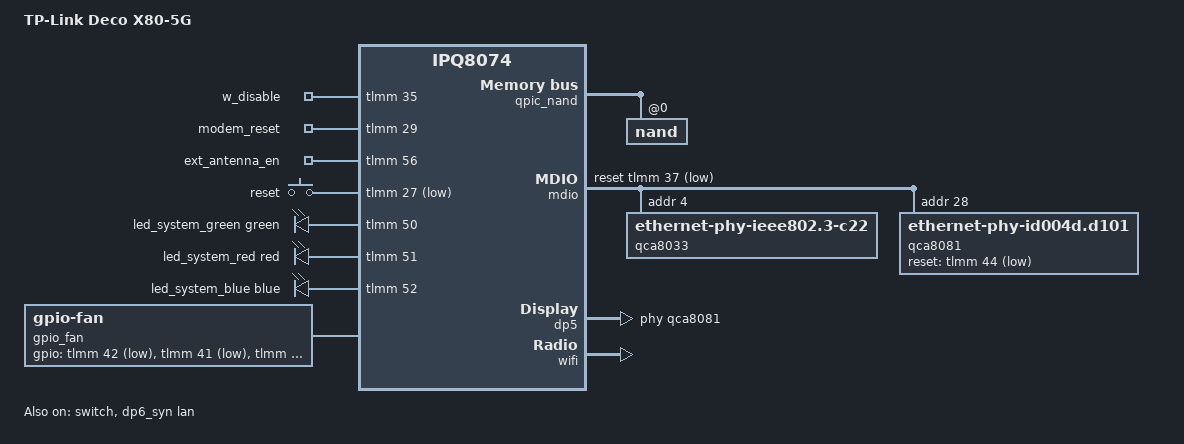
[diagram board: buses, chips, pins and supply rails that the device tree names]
// SPDX-License-Identifier: GPL-2.0-or-later OR MIT

/dts-v1/;

#include "ipq8074.dtsi"
#include "ipq8074-ess.dtsi"
#include "ipq8074-nss.dtsi"
#include "ipq8074-common.dtsi"
#include "ipq8074-hk-cpu.dtsi"

#include <dt-bindings/gpio/gpio.h>
#include <dt-bindings/input/input.h>
#include <dt-bindings/leds/common.h>

/ {
	model = "TP-Link Deco X80-5G";
	compatible = "tplink,deco-x80-5g", "qcom,ipq8074";

	aliases {
		serial0 = &blsp1_uart5;
	};

	chosen {
		stdout-path = "serial0:115200n8";
		bootargs-append = " root=/dev/ubiblock0_1";
	};

	modem {
		compatible = "gpio-export";
		pinctrl-names = "default";
		pinctrl-0 = <&modem_pins>;
		pinctrl-1 = <&antenna_pins>;

		w_disable {
			gpio-export,name = "w_disable";
			gpio-export,output = <1>;
			gpios = <&tlmm 35 GPIO_ACTIVE_HIGH>; /* wwan disable output */
		};

		modem-reset {
			gpio-export,name = "modem_reset";
			gpio-export,output = <0>;
			gpios = <&tlmm 29 GPIO_ACTIVE_HIGH>; /* reset modem output */
		};

		ext_antenna_en {
			gpio-export,name = "ext_antenna_en";
			gpio-export,output = <0>;
			gpios = <&tlmm 56 GPIO_ACTIVE_HIGH>; /* select external sma antennas for wwan output */
		};
	};

	keys {
		compatible = "gpio-keys";

		reset_button {
			label = "reset";
			gpios = <&tlmm 27 GPIO_ACTIVE_LOW>; /*reset button output*/
			linux,code = <KEY_RESTART>;
		};
	};

	leds {
		compatible = "gpio-leds";
		/*note the LED's defined here are not individual they are a single combined RGB element used for status functions.
		To mimic the OEM default behaviour green and red are switched on from boot to indicate yellow (power on).*/

		led_system_green: system-green {
			gpios = <&tlmm 50 GPIO_ACTIVE_HIGH>;
			color = <LED_COLOR_ID_GREEN>;
			function = LED_FUNCTION_STATUS;
			default-state = "on";
		};

		led_system_red: system-red {
			gpios = <&tlmm 51 GPIO_ACTIVE_HIGH>;
			color = <LED_COLOR_ID_RED>;
			function = LED_FUNCTION_STATUS;
			default-state = "on";
		};

		led_system_blue: system-blue {
			gpios = <&tlmm 52 GPIO_ACTIVE_HIGH>;
			color = <LED_COLOR_ID_BLUE>;
			function = LED_FUNCTION_STATUS;
		};
	};

	gpio_fan: gpio-fan {
		compatible = "gpio-fan";
		pinctrl-0 = <&fan_pins>;
		pinctrl-names = "default";
		gpios = <&tlmm 42 GPIO_ACTIVE_LOW>, /* fan gpio MSB */
			<&tlmm 41 GPIO_ACTIVE_LOW>,
			<&tlmm 40 GPIO_ACTIVE_LOW>; /* fan gpio LSB */

		/* stock fan is a Sunnon EF40201BX-Q18C-F99
		6800 rpm
		gpio68 seemed to be the feedback rpm of the fan.
		no support for fan speed in kernel saved for future use.*/

		/*rpm-gpios = <&tlmm 68 GPIO_ACTIVE_HIGH>; */
		gpio-fan,speed-map = <0 0>, /* speed 0 binary drive bits 0,0,0 (idle state) */
				<971 1>, /* speed 1 binary drive bits 0,0,1      ▼ */
				<1942 2>, /* speed 3 binary drive bits 0,1,0 (active state) */
				<2913 3>, /* speed 4 binary drive bits 0,1,1      ▼ */
				<3884 4>, /* speed 5 binary drive bits 1,0,0      ▼ */
				<4855 5>, /* speed 6 binary drive bits 1,0,1 (high state) */
				<5826 6>, /* speed 7 binary drive bits 1,1,0      ▼ */
				<6800 7>; /* speed 8 binary drive bits 1,1,1      ▼ */
		#cooling-cells = <2>;  /* min followed by max */
	};
};

&cpu0_thermal {
	trips {
		cpu0_high: cpu-high {
			temperature = <70000>;
			hysteresis = <2000>;
			type = "active";
		};
		cpu0_active: cpu-active {
			temperature = <50000>;
			hysteresis = <2000>;
			type = "active";
		};
		cpu0_idle: cpu-idle {
			temperature = <25000>;
			hysteresis = <2000>;
			type = "active";
		};
	};

	cooling-maps {
		map2 {
			trip = <&cpu0_high>;
			cooling-device = <&gpio_fan 5 THERMAL_NO_LIMIT>;
		};
		map3 {
			trip = <&cpu0_active>;
			cooling-device = <&gpio_fan 2 4>;
		};
		map4 {
			trip = <&cpu0_idle>;
			cooling-device = <&gpio_fan THERMAL_NO_LIMIT 1>;
		};
	};
};

&cpu1_thermal {
	trips {
		cpu1_high: cpu-high {
			temperature = <70000>;
			hysteresis = <2000>;
			type = "active";
		};
		cpu1_active: cpu-active {
			temperature = <50000>;
			hysteresis = <2000>;
			type = "active";
		};
		cpu1_idle: cpu-idle {
			temperature = <25000>;
			hysteresis = <2000>;
			type = "active";
		};
	};

	cooling-maps {
		map2 {
			trip = <&cpu1_high>;
			cooling-device = <&gpio_fan 5 THERMAL_NO_LIMIT>;
		};
		map3 {
			trip = <&cpu1_active>;
			cooling-device = <&gpio_fan 2 4>;
		};
		map4 {
			trip = <&cpu1_idle>;
			cooling-device = <&gpio_fan THERMAL_NO_LIMIT 1>;
		};
	};
};

&cpu2_thermal {
	trips {
		cpu2_high: cpu-high {
			temperature = <70000>;
			hysteresis = <2000>;
			type = "active";
		};
		cpu2_active: cpu-active {
			temperature = <50000>;
			hysteresis = <2000>;
			type = "active";
		};
		cpu2_idle: cpu-idle {
			temperature = <25000>;
			hysteresis = <2000>;
			type = "active";
		};
	};

	cooling-maps {
		map2 {
			trip = <&cpu2_high>;
			cooling-device = <&gpio_fan 5 THERMAL_NO_LIMIT>;
		};
		map3 {
			trip = <&cpu2_active>;
			cooling-device = <&gpio_fan 2 4>;
		};
		map4 {
			trip = <&cpu2_idle>;
			cooling-device = <&gpio_fan THERMAL_NO_LIMIT 1>;
		};
	};
};

&cpu3_thermal {
	trips {
		cpu3_high: cpu-high {
			temperature = <70000>;
			hysteresis = <2000>;
			type = "active";
		};
		cpu3_active: cpu-active {
			temperature = <50000>;
			hysteresis = <2000>;
			type = "active";
		};
		cpu3_idle: cpu-idle {
			temperature = <25000>;
			hysteresis = <2000>;
			type = "active";
		};
	};

	cooling-maps {
		map2 {
			trip = <&cpu3_high>;
			cooling-device = <&gpio_fan 5 THERMAL_NO_LIMIT>;
		};
		map3 {
			trip = <&cpu3_active>;
			cooling-device = <&gpio_fan 2 4>;
		};
		map4 {
			trip = <&cpu3_idle>;
			cooling-device = <&gpio_fan THERMAL_NO_LIMIT 1>;
		};
	};
};


&cluster_thermal {
	trips {
		cluster_high: cluster-high {
			temperature = <70000>;
			hysteresis = <2000>;
			type = "active";
		};
		cluster_active: cluster-active {
			temperature = <50000>;
			hysteresis = <2000>;
			type = "active";
		};
		cluster_idle: cluster-idle {
			temperature = <25000>;
			hysteresis = <2000>;
			type = "active";
		};
	};

	cooling-maps {
		map2 {
			trip = <&cluster_high>;
			cooling-device = <&gpio_fan 5 THERMAL_NO_LIMIT>;
		};
		map3 {
			trip = <&cluster_active>;
			cooling-device = <&gpio_fan 2 4>;
		};
		map4 {
			trip = <&cluster_idle>;
			cooling-device = <&gpio_fan THERMAL_NO_LIMIT 1>;
		};
	};
};


&tlmm {
	antenna_pins: antenna-pins {
		pins = "gpio56";
		function = "gpio";
		drive-strength = <2>;
		bias-disable;
	};

	fan_pins: fan-pins {
		pins = "gpio40", "gpio41", "gpio42";
		function = "gpio";
		drive-strength = <2>;
		bias-disable;
	};

	modem_pins: modem-pins {
		pins = "gpio29", "gpio55";
		function = "gpio";
		drive-strength = <2>;
		bias-disable;
	};
};

&qpic_nand {
	status = "okay";

	nand@0 {
		reg = <0>;

		nand-ecc-strength = <4>;
		nand-ecc-step-size = <512>;
		nand-bus-width = <8>;

		partitions {
			compatible = "qcom,smem-part";
		};
	};
};

&mdio {
	status = "okay";

	pinctrl-0 = <&mdio_pins>;
	pinctrl-names = "default";
	reset-gpios = <&tlmm 37 GPIO_ACTIVE_LOW>;

	qca8033: ethernet-phy@4 {
		compatible = "ethernet-phy-ieee802.3-c22"; /* lan phy */
		reg = <4>;
	};

	qca8081: ethernet-phy@28 {
		compatible = "ethernet-phy-id004d.d101"; /* wan phy */
		reg = <28>;
		reset-deassert-us = <10000>;
		reset-gpios = <&tlmm 44 GPIO_ACTIVE_LOW>;
	};
};


&switch {
	status = "okay";

	switch_wan_bmp = <ESS_PORT5>; /* wan port bitmap */
	switch_lan_bmp = <ESS_PORT6>; /* lan port bitmap */
	switch_mac_mode1 = <MAC_MODE_SGMII_PLUS>; /* mac mode for uniphy instance1*/
	switch_mac_mode2 = <MAC_MODE_SGMII_PLUS>; /* mac mode for uniphy instance2*/

	qcom,port_phyinfo {
		port@5 {
			port_id = <5>;
			phy_address = <28>;
			port_mac_sel = "QGMAC_PORT";
		};
		port@6 {
			port_id = <6>;
			phy_address = <4>;
		};
	};
};

&edma {
	status = "okay";
};

&dp5 {
	status = "okay";
	phy-handle = <&qca8081>;
	label = "wan";
};

&dp6_syn {
	status = "okay";
	phy-handle = <&qca8033>;
	label = "lan";
};

&wifi {
	status = "okay";
	qcom,ath11k-fw-memory-mode = <1>;
	qcom,ath11k-calibration-variant = "tplink_deco-x80-5g";
};
